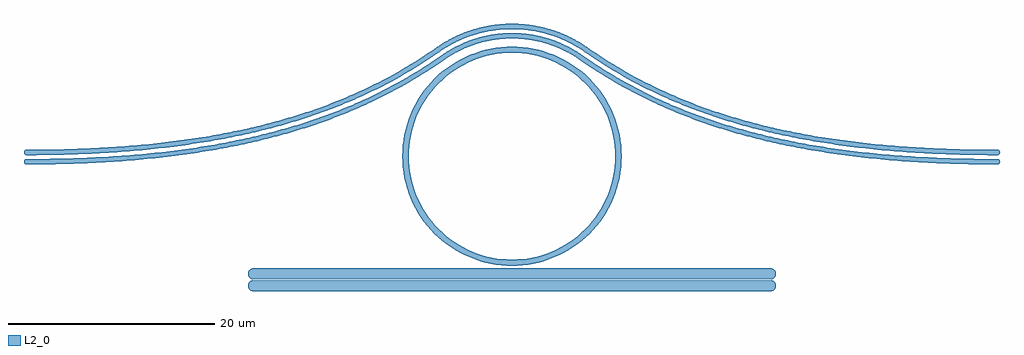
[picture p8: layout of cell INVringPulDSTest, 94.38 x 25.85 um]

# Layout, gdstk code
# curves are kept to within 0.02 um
import gdstk
lib = gdstk.Library(unit=1e-6, precision=1e-09)
def P(c, l, *ps):  # polygons
    for p in ps: c.add(gdstk.Polygon(p, *l))
L2_0 = (2, 0)

invringpuldstest = lib.new_cell('INVringPulDSTest')
P(invringpuldstest, L2_0, [(10,-30.6),(8.961,-30.549),(7.932,-30.396),(6.923,-30.144),(5.944,-29.793),(5.003,-29.348),(4.111,-28.814),(3.275,-28.194),(2.505,-27.495),(1.806,-26.725),(1.186,-25.889),(0.652,-24.997),(0.207,-24.056),(-0.144,-23.077),(-0.396,-22.068),(-0.549,-21.039),(-0.6,-20),(-0.549,-18.961),(-0.396,-17.932),(-0.144,-16.923),(0.207,-15.944),(0.652,-15.003),(1.186,-14.111),(1.806,-13.275),(2.505,-12.505),(3.275,-11.806),(4.111,-11.186),(5.003,-10.652),(5.944,-10.207),(6.923,-9.856),(7.932,-9.604),(8.961,-9.451),(10,-9.4),(11.039,-9.451),(12.068,-9.604),(13.077,-9.856),(14.056,-10.207),(14.997,-10.652),(15.889,-11.186),(16.725,-11.806),(17.495,-12.505),(18.194,-13.275),(18.814,-14.111),(19.348,-15.003),(19.793,-15.944),(20.144,-16.923),(20.396,-17.932),(20.549,-18.961),(20.6,-20),(20,-20),(19.988,-19.509),(19.892,-18.533),(19.808,-18.049),(19.569,-17.097),(19.239,-16.173),(19.04,-15.724),(18.577,-14.859),(18.032,-14.043),(17.41,-13.284),(16.716,-12.59),(16.344,-12.27),(15.556,-11.685),(15.141,-11.423),(14.276,-10.96),(13.827,-10.761),(12.903,-10.431),(12.43,-10.3),(11.951,-10.192),(10.98,-10.048),(10.491,-10.012),(9.509,-10.012),(8.533,-10.108),(8.049,-10.192),(7.097,-10.431),(6.631,-10.585),(6.173,-10.761),(5.286,-11.181),(4.444,-11.685),(4.043,-11.968),(3.284,-12.59),(2.929,-12.929),(2.59,-13.284),(1.968,-14.043),(1.423,-14.859),(0.96,-15.724),(0.761,-16.173),(0.431,-17.097),(0.192,-18.049),(0.108,-18.533),(0.012,-19.509),(0.012,-20.491),(0.048,-20.98),(0.192,-21.951),(0.431,-22.903),(0.761,-23.827),(0.96,-24.276),(1.181,-24.714),(1.685,-25.556),(2.27,-26.344),(2.59,-26.716),(3.284,-27.41),(4.043,-28.032),(4.444,-28.315),(5.286,-28.819),(6.173,-29.239),(7.097,-29.569),(7.57,-29.7),(8.533,-29.892),(9.509,-29.988),(10.491,-29.988),(10.98,-29.952),(11.951,-29.808),(12.903,-29.569),(13.369,-29.415),(14.276,-29.04),(14.714,-28.819),(15.556,-28.315),(15.957,-28.032),(16.716,-27.41),(17.41,-26.716),(18.032,-25.957),(18.577,-25.141),(19.04,-24.276),(19.239,-23.827),(19.569,-22.903),(19.7,-22.43),(19.892,-21.467),(19.952,-20.98),(20,-20),(20.6,-20),(20.549,-21.039),(20.396,-22.068),(20.144,-23.077),(19.793,-24.056),(19.348,-24.997),(18.814,-25.889),(18.194,-26.725),(17.495,-27.495),(16.725,-28.194),(15.889,-28.814),(14.997,-29.348),(14.056,-29.793),(13.077,-30.144),(12.068,-30.396),(11.039,-30.549)],
  [(-36.94,-20.788),(-36.94,-20.288),(-32.839,-20.228),(-28.977,-20.052),(-25.342,-19.763),(-21.925,-19.367),(-19.41,-18.988),(-17.014,-18.549),(-14.732,-18.052),(-12.559,-17.5),(-10.203,-16.804),(-7.974,-16.041),(-5.864,-15.216),(-3.867,-14.332),(-1.974,-13.391),(-0.618,-12.65),(1.53,-11.354),(3.873,-9.798),(4.672,-9.359),(5.501,-8.983),(6.52,-8.62),(7.68,-8.328),(8.863,-8.154),(9.943,-8.1),(11.137,-8.154),(12.264,-8.317),(13.37,-8.587),(14.499,-8.983),(15.328,-9.359),(16.127,-9.798),(18.47,-11.354),(20.618,-12.65),(21.974,-13.391),(23.867,-14.332),(26.122,-15.323),(28.519,-16.238),(30.78,-16.984),(33.169,-17.663),(35.697,-18.272),(38.369,-18.807),(41.194,-19.265),(44.18,-19.643),(46.93,-19.905),(50.238,-20.123),(53.729,-20.252),(56.94,-20.288),(56.94,-20.788),(54.619,-20.77),(51.934,-20.698),(49.353,-20.575),(46.875,-20.402),(43.341,-20.05),(40.018,-19.593),(36.895,-19.034),(33.961,-18.38),(31.205,-17.634),(28.895,-16.898),(26.444,-15.992),(24.139,-15.009),(22.204,-14.073),(20.367,-13.083),(18.198,-11.774),(15.916,-10.255),(15.153,-9.831),(14.259,-9.425),(13.176,-9.051),(12.169,-8.808),(11.09,-8.652),(9.945,-8.6),(8.91,-8.652),(7.831,-8.808),(6.719,-9.082),(5.69,-9.446),(4.847,-9.831),(4.084,-10.255),(1.802,-11.774),(-0.367,-13.083),(-2.204,-14.073),(-3.891,-14.895),(-6.181,-15.887),(-8.337,-16.704),(-10.909,-17.546),(-13.334,-18.222),(-15.897,-18.827),(-18.606,-19.357),(-21.47,-19.809),(-24.108,-20.137),(-26.875,-20.402),(-30.202,-20.622),(-33.712,-20.752)],
  [(-36.94,-19.888),(-36.94,-19.388),(-32.875,-19.329),(-29.049,-19.155),(-25.451,-18.87),(-22.07,-18.479),(-19.583,-18.105),(-17.216,-17.672),(-14.962,-17.182),(-12.817,-16.638),(-10.492,-15.952),(-8.294,-15.201),(-6.216,-14.388),(-4.249,-13.517),(-2.386,-12.591),(-1.052,-11.862),(1.06,-10.586),(3.463,-8.995),(4.214,-8.582),(5.105,-8.173),(6.257,-7.759),(7.384,-7.47),(8.594,-7.277),(9.939,-7.2),(11.101,-7.247),(12.375,-7.422),(13.625,-7.724),(14.839,-8.15),(15.676,-8.527),(16.537,-8.995),(18.94,-10.586),(21.052,-11.862),(22.843,-12.827),(24.731,-13.74),(26.982,-14.7),(29.104,-15.49),(31.349,-16.217),(33.723,-16.878),(36.236,-17.469),(38.895,-17.987),(41.347,-18.378),(44.301,-18.751),(47.023,-19.01),(50.299,-19.225),(53.757,-19.352),(56.94,-19.388),(56.94,-19.888),(54.189,-19.862),(51.545,-19.783),(49.006,-19.653),(46.968,-19.507),(43.471,-19.16),(40.184,-18.708),(36.766,-18.091),(33.889,-17.435),(31.479,-16.777),(29.2,-16.052),(26.785,-15.159),(24.514,-14.191),(22.609,-13.269),(20.802,-12.295),(18.67,-11.007),(16.333,-9.455),(15.56,-9.028),(14.65,-8.613),(13.54,-8.22),(12.398,-7.936),(11.176,-7.756),(9.941,-7.7),(8.824,-7.756),(7.602,-7.936),(6.46,-8.22),(5.296,-8.635),(4.44,-9.028),(3.667,-9.455),(1.33,-11.007),(-0.802,-12.295),(-2.609,-13.269),(-4.514,-14.191),(-6.525,-15.055),(-8.924,-15.956),(-11.187,-16.69),(-13.58,-17.357),(-16.111,-17.953),(-18.788,-18.476),(-21.257,-18.87),(-24.229,-19.246),(-27.37,-19.539),(-30.263,-19.724),(-33.741,-19.852)],
  [(56.94,-19.888),(56.94,-19.388),(57.038,-19.408),(57.117,-19.461),(57.171,-19.541),(57.19,-19.638),(57.171,-19.736),(57.117,-19.815),(57.038,-19.869)],
  [(-36.94,-19.888),(-37.038,-19.869),(-37.117,-19.815),(-37.171,-19.736),(-37.19,-19.638),(-37.171,-19.541),(-37.117,-19.461),(-37.038,-19.408),(-36.94,-19.388)],
  [(56.94,-20.788),(56.94,-20.288),(57.038,-20.308),(57.117,-20.361),(57.171,-20.441),(57.19,-20.538),(57.171,-20.636),(57.117,-20.715),(57.038,-20.769)],
  [(-36.94,-20.788),(-37.038,-20.769),(-37.117,-20.715),(-37.171,-20.636),(-37.19,-20.538),(-37.171,-20.441),(-37.117,-20.361),(-37.038,-20.308),(-36.94,-20.288)],
  [(-15,-33.05),(-15.204,-33.009),(-15.371,-32.896),(-15.484,-32.729),(-15.525,-32.525),(-15.484,-32.321),(-15.371,-32.154),(-15.204,-32.041),(-15,-32),(35,-32),(35.204,-32.041),(35.371,-32.154),(35.484,-32.321),(35.525,-32.525),(35.484,-32.729),(35.371,-32.896),(35.204,-33.009),(35,-33.05)],
  [(-15,-31.9),(-15.204,-31.859),(-15.371,-31.746),(-15.484,-31.579),(-15.525,-31.375),(-15.484,-31.171),(-15.371,-31.004),(-15.204,-30.891),(-15,-30.85),(35,-30.85),(35.204,-30.891),(35.371,-31.004),(35.484,-31.171),(35.525,-31.375),(35.484,-31.579),(35.371,-31.746),(35.204,-31.859),(35,-31.9)])

lib.write_gds('INVringPulDSTest.gds')
